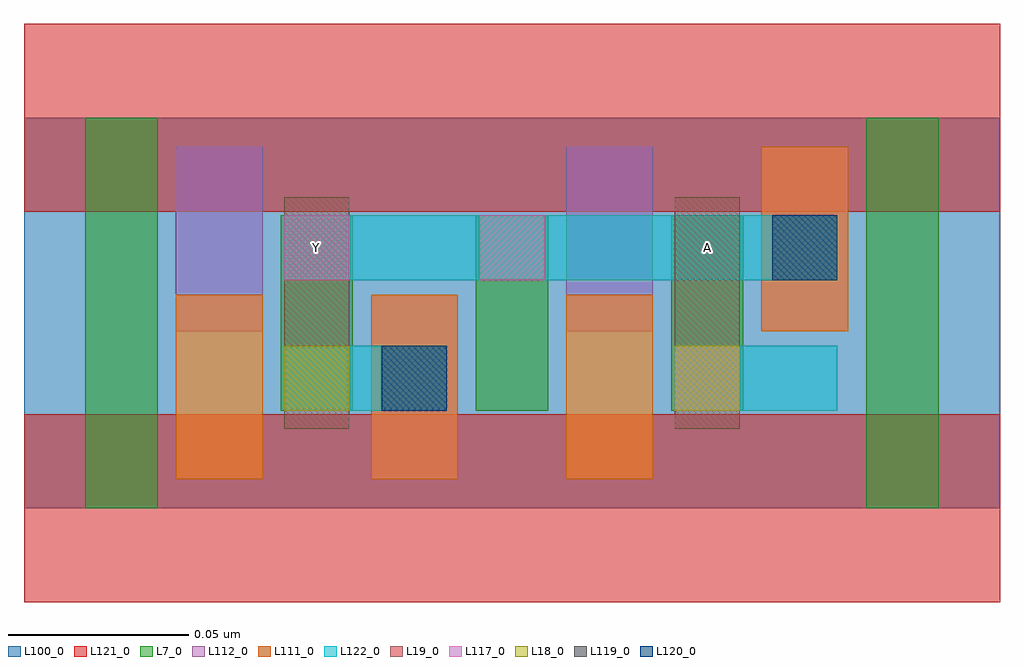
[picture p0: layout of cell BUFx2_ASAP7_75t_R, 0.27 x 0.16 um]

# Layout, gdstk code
import gdstk
lib = gdstk.Library(unit=1e-6, precision=2.5e-10)
def R(c, l, rs):  # rectangles x0, y0, x1, y1
    for r in rs: c.add(gdstk.rectangle(r[:2], r[2:], *l))
def A(c, l, x, y, w, h, nx, ny, dx, dy):  # array of equal rectangles
    R(c, l, [(x+i*dx, y+j*dy, x+i*dx+w, y+j*dy+h) for i in range(nx) for j in range(ny)])
L7_0 = (7, 0)
L18_0 = (18, 0)
L19_0 = (19, 0)
L100_0 = (100, 0)
L111_0 = (111, 0)
L112_0 = (112, 0)
L117_0 = (117, 0)
L119_0 = (119, 0)
L120_0 = (120, 0)
L121_0 = (121, 0)
L122_0 = (122, 0)

bufx2_asap7_75t_r = lib.new_cell('BUFx2_ASAP7_75t_R')
A(bufx2_asap7_75t_r, L7_0, 0.071, 0.027, 0.02, 0.054, 3, 1, 0.054, 0)
R(bufx2_asap7_75t_r, L7_0, [(0.017,0,0.037,0.108), (0.233,0,0.253,0.108)])
R(bufx2_asap7_75t_r, L18_0, [(0.072,0.027,0.09,0.045), (0.18,0.027,0.198,0.045)])
R(bufx2_asap7_75t_r, L19_0, [(0.072,0.022,0.09,0.086), (0.18,0.022,0.198,0.086)])
R(bufx2_asap7_75t_r, L100_0, [(0,0,0.27,0.108)])
A(bufx2_asap7_75t_r, L111_0, 0.042, 0.008, 0.024, 0.051, 3, 1, 0.054, 0)
R(bufx2_asap7_75t_r, L111_0, [(0.204,0.049,0.228,0.1)])
R(bufx2_asap7_75t_r, L112_0, [(0.096,0.008,0.12,0.059), (0.042,0.049,0.066,0.1), (0.15,0.049,0.174,0.1), (0.204,0.049,0.228,0.1)])
R(bufx2_asap7_75t_r, L117_0, [(0.18,0.027,0.198,0.045), (0.072,0.063,0.09,0.081), (0.126,0.063,0.144,0.081)])
R(bufx2_asap7_75t_r, L119_0, [(0.099,0.027,0.117,0.045), (0.207,0.063,0.225,0.081)])
R(bufx2_asap7_75t_r, L120_0, [(0.099,0.027,0.117,0.045), (0.207,0.063,0.225,0.081)])
R(bufx2_asap7_75t_r, L121_0, [(0,-0.026,0.27,0.026), (0,0.082,0.27,0.134)])
R(bufx2_asap7_75t_r, L122_0, [(0.072,0.027,0.117,0.045), (0.18,0.027,0.225,0.045), (0.072,0.063,0.225,0.081)])
bufx2_asap7_75t_r.add(gdstk.Label('Y', (0.081,0.072), layer=19, texttype=251))
bufx2_asap7_75t_r.add(gdstk.Label('A', (0.189,0.072), layer=19, texttype=251))

lib.write_gds('BUFx2_ASAP7_75t_R.gds')
